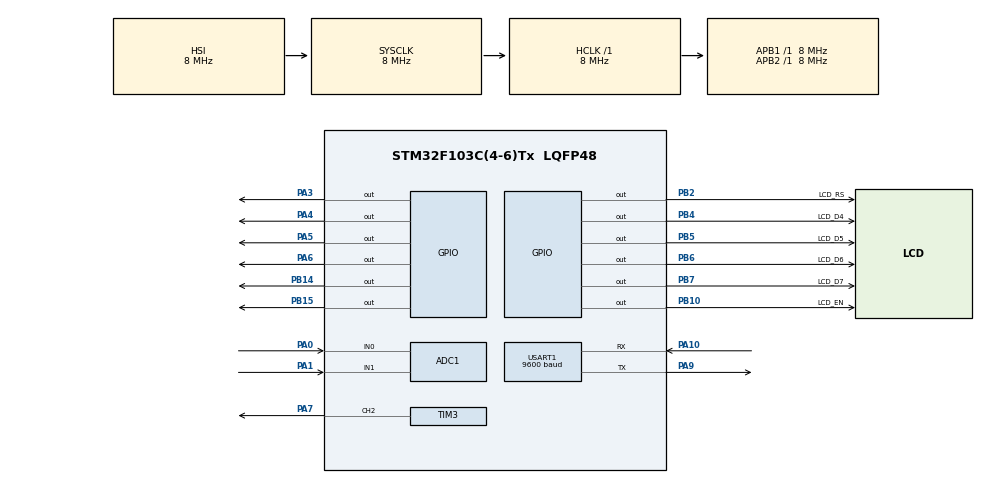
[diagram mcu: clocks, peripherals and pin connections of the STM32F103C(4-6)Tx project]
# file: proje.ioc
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ADC1.Channel-7\#ChannelRegularConversion=ADC_CHANNEL_0
ADC1.Channel-8\#ChannelRegularConversion=ADC_CHANNEL_1
ADC1.ContinuousConvMode=ENABLE
ADC1.NbrOfConversion=2
ADC1.NbrOfConversionFlag=1
ADC1.Rank-7\#ChannelRegularConversion=1
ADC1.Rank-8\#ChannelRegularConversion=2
ADC1.SamplingTime-7\#ChannelRegularConversion=ADC_SAMPLETIME_55CYCLES_5
ADC1.SamplingTime-8\#ChannelRegularConversion=ADC_SAMPLETIME_55CYCLES_5
ADC1.master=1
Dma.ADC1.0.Direction=DMA_PERIPH_TO_MEMORY
Dma.ADC1.0.Instance=DMA1_Channel1
Dma.ADC1.0.MemDataAlignment=DMA_MDATAALIGN_WORD
Dma.ADC1.0.MemInc=DMA_MINC_ENABLE
Dma.ADC1.0.Mode=DMA_CIRCULAR
Dma.ADC1.0.PeriphDataAlignment=DMA_PDATAALIGN_WORD
Dma.ADC1.0.PeriphInc=DMA_PINC_DISABLE
Dma.ADC1.0.Priority=DMA_PRIORITY_LOW
Dma.Request0=ADC1
Mcu.Family=STM32F1
Mcu.Name=STM32F103C(4-6)Tx
Mcu.Package=LQFP48
NVIC.DMA1_Channel1_IRQn=true\:0\:0\:false\:false\:true\:false\:true\:true
NVIC.PriorityGroup=NVIC_PRIORITYGROUP_4
NVIC.TIM2_IRQn=true\:0\:0\:false\:false\:true\:true\:true\:true
NVIC.USART1_IRQn=true\:0\:0\:true\:false\:true\:true\:true\:true
PA0-WKUP.Signal=ADCx_IN0
PA1.Signal=ADCx_IN1
PA10.Mode=Asynchronous
PA10.Signal=USART1_RX
PA3.Signal=GPIO_Output
PA4.Signal=GPIO_Output
PA5.Signal=GPIO_Output
PA6.Signal=GPIO_Output
PA7.Signal=S_TIM3_CH2
PA9.Mode=Asynchronous
PA9.Signal=USART1_TX
PB10.GPIO_Label=LCD_EN
PB10.Signal=GPIO_Output
PB14.Signal=GPIO_Output
PB15.Signal=GPIO_Output
PB2.GPIO_Label=LCD_RS
PB2.Signal=GPIO_Output
PB4.GPIO_Label=LCD_D4
PB4.Signal=GPIO_Output
PB5.GPIO_Label=LCD_D5
PB5.Signal=GPIO_Output
PB6.GPIO_Label=LCD_D6
PB6.Signal=GPIO_Output
PB7.GPIO_Label=LCD_D7
PB7.Signal=GPIO_Output
PD0-OSC_IN.Mode=HSE-External-Oscillator
PD0-OSC_IN.Signal=RCC_OSC_IN
PD1-OSC_OUT.Mode=HSE-External-Oscillator
PD1-OSC_OUT.Signal=RCC_OSC_OUT
ProjectManager.HeapSize=0x200
ProjectManager.StackSize=0x400
ProjectManager.TargetToolchain=MDK-ARM V5.32
RCC.AHBFreq_Value=8000000
RCC.APB1Freq_Value=8000000
RCC.APB1TimFreq_Value=8000000
RCC.APB2Freq_Value=8000000
RCC.APB2TimFreq_Value=8000000
RCC.HCLKFreq_Value=8000000
RCC.SYSCLKFreq_VALUE=8000000
RCC.USBFreq_Value=8000000
SH.ADCx_IN0.0=ADC1_IN0,IN0
SH.ADCx_IN1.0=ADC1_IN1,IN1
SH.S_TIM3_CH2.0=TIM3_CH2,PWM Generation2 CH2
TIM2.Period=49999
TIM2.Prescaler=15
TIM3.Channel-PWM\ Generation2\ CH2=TIM_CHANNEL_2
TIM3.Period=8192
USART1.BaudRate=9600
USART1.VirtualMode=VM_ASYNC
VP_SYS_VS_ND.Mode=No_Debug
VP_TIM2_VS_ClockSourceINT.Mode=Internal
VP_TIM3_VS_ClockSourceINT.Mode=Internal
board=custom

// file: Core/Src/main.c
/* USER CODE BEGIN Header */
/**
  ******************************************************************************
  * @file           : main.c
  * @brief          : Main program body
  ******************************************************************************
  * @attention
  *
  * Copyright (c) 2024 STMicroelectronics.
  * All rights reserved.
  *
  * This software is licensed under terms that can be found in the LICENSE file
  * in the root directory of this software component.
  * If no LICENSE file comes with this software, it is provided AS-IS.
  *
  ******************************************************************************
  */
/* USER CODE END Header */
#include "main.h"

/* USER CODE BEGIN Includes */
#include "stdio.h"
#include "stdlib.h"
#include "LCD.h"
/* USER CODE END Includes */

ADC_HandleTypeDef hadc1;
DMA_HandleTypeDef hdma_adc1;

TIM_HandleTypeDef htim2;
TIM_HandleTypeDef htim3;

UART_HandleTypeDef huart1;

/* USER CODE BEGIN PV */

float soilHumidity = 50;
float waterLevel = 50;

uint32_t adcBuffer[2];

uint32_t adcWaterValue;
uint32_t adcMoistureValue;

uint8_t uartMessage[1] = "m";
char lcdString[32] = "";

uint16_t moisture_pin;
uint16_t water_pin;

/* USER CODE END PV */

void SystemClock_Config(void);
static void MX_GPIO_Init(void);
static void MX_DMA_Init(void);
static void MX_USART1_UART_Init(void);
static void MX_ADC1_Init(void);
static void MX_TIM2_Init(void);
static void MX_TIM3_Init(void);

int main(void)
{

  /* MCU Configuration--------------------------------------------------------*/

  /* Reset of all peripherals, Initializes the Flash interface and the Systick. */
  HAL_Init();

  /* Configure the system clock */
  SystemClock_Config();

  /* Initialize all configured peripherals */
  MX_GPIO_Init();
  MX_DMA_Init();
  MX_USART1_UART_Init();
  MX_ADC1_Init();
  MX_TIM2_Init();
  MX_TIM3_Init();
  /* USER CODE BEGIN 2 */

	lcd_init(_LCD_4BIT, _LCD_FONT_5x8, _LCD_2LINE);

	lcd_print(1, 1, " ...");
	HAL_Delay(1000);
	lcd_clear();

	HAL_TIM_Base_Start_IT(&htim2);
	HAL_UART_Init(&huart1);
	HAL_UART_Receive_IT(&huart1, uartMessage, sizeof(uartMessage));
	HAL_ADC_Start_DMA(&hadc1, adcBuffer, 2);
  HAL_TIM_PWM_Start(&htim3, TIM_CHANNEL_2);
	__HAL_TIM_SET_COMPARE(&htim3, TIM_CHANNEL_2, 0);
  /* USER CODE END 2 */

  /* Infinite loop */
  while (1)
  {

  }
}

void SystemClock_Config(void)
{
  RCC_OscInitTypeDef RCC_OscInitStruct = {0};
  RCC_ClkInitTypeDef RCC_ClkInitStruct = {0};
  RCC_PeriphCLKInitTypeDef PeriphClkInit = {0};

  /** Initializes the RCC Oscillators according to the specified parameters
  * in the RCC_OscInitTypeDef structure.
  */
  RCC_OscInitStruct.OscillatorType = RCC_OSCILLATORTYPE_HSI;
  RCC_OscInitStruct.HSIState = RCC_HSI_ON;
  RCC_OscInitStruct.HSICalibrationValue = RCC_HSICALIBRATION_DEFAULT;
  RCC_OscInitStruct.PLL.PLLState = RCC_PLL_NONE;
  if (HAL_RCC_OscConfig(&RCC_OscInitStruct) != HAL_OK)
  {
    Error_Handler();
  }

  /** Initializes the CPU, AHB and APB buses clocks
  */
  RCC_ClkInitStruct.ClockType = RCC_CLOCKTYPE_HCLK|RCC_CLOCKTYPE_SYSCLK
                              |RCC_CLOCKTYPE_PCLK1|RCC_CLOCKTYPE_PCLK2;
  RCC_ClkInitStruct.SYSCLKSource = RCC_SYSCLKSOURCE_HSI;
  RCC_ClkInitStruct.AHBCLKDivider = RCC_SYSCLK_DIV1;
  RCC_ClkInitStruct.APB1CLKDivider = RCC_HCLK_DIV1;
  RCC_ClkInitStruct.APB2CLKDivider = RCC_HCLK_DIV1;

  if (HAL_RCC_ClockConfig(&RCC_ClkInitStruct, FLASH_LATENCY_0) != HAL_OK)
  {
    Error_Handler();
  }
  PeriphClkInit.PeriphClockSelection = RCC_PERIPHCLK_ADC;
  PeriphClkInit.AdcClockSelection = RCC_ADCPCLK2_DIV2;
  if (HAL_RCCEx_PeriphCLKConfig(&PeriphClkInit) != HAL_OK)
  {
    Error_Handler();
  }
}

static void MX_ADC1_Init(void)
{

  ADC_ChannelConfTypeDef sConfig = {0};

  /** Common config
  */
  hadc1.Instance = ADC1;
  hadc1.Init.ScanConvMode = ADC_SCAN_ENABLE;
  hadc1.Init.ContinuousConvMode = ENABLE;
  hadc1.Init.DiscontinuousConvMode = DISABLE;
  hadc1.Init.ExternalTrigConv = ADC_SOFTWARE_START;
  hadc1.Init.DataAlign = ADC_DATAALIGN_RIGHT;
  hadc1.Init.NbrOfConversion = 2;
  if (HAL_ADC_Init(&hadc1) != HAL_OK)
  {
    Error_Handler();
  }

  /** Configure Regular Channel
  */
  sConfig.Channel = ADC_CHANNEL_0;
  sConfig.Rank = ADC_REGULAR_RANK_1;
  sConfig.SamplingTime = ADC_SAMPLETIME_55CYCLES_5;
  if (HAL_ADC_ConfigChannel(&hadc1, &sConfig) != HAL_OK)
  {
    Error_Handler();
  }

  /** Configure Regular Channel
  */
  sConfig.Channel = ADC_CHANNEL_1;
  sConfig.Rank = ADC_REGULAR_RANK_2;
  if (HAL_ADC_ConfigChannel(&hadc1, &sConfig) != HAL_OK)
  {
    Error_Handler();
  }

}

static void MX_TIM2_Init(void)
{

  TIM_ClockConfigTypeDef sClockSourceConfig = {0};
  TIM_MasterConfigTypeDef sMasterConfig = {0};

  htim2.Instance = TIM2;
  htim2.Init.Prescaler = 15;
  htim2.Init.CounterMode = TIM_COUNTERMODE_UP;
  htim2.Init.Period = 49999;
  htim2.Init.ClockDivision = TIM_CLOCKDIVISION_DIV1;
  htim2.Init.AutoReloadPreload = TIM_AUTORELOAD_PRELOAD_DISABLE;
  if (HAL_TIM_Base_Init(&htim2) != HAL_OK)
  {
    Error_Handler();
  }
  sClockSourceConfig.ClockSource = TIM_CLOCKSOURCE_INTERNAL;
  if (HAL_TIM_ConfigClockSource(&htim2, &sClockSourceConfig) != HAL_OK)
  {
    Error_Handler();
  }
  sMasterConfig.MasterOutputTrigger = TIM_TRGO_RESET;
  sMasterConfig.MasterSlaveMode = TIM_MASTERSLAVEMODE_DISABLE;
  if (HAL_TIMEx_MasterConfigSynchronization(&htim2, &sMasterConfig) != HAL_OK)
  {
    Error_Handler();
  }

}

static void MX_TIM3_Init(void)
{

  TIM_ClockConfigTypeDef sClockSourceConfig = {0};
  TIM_MasterConfigTypeDef sMasterConfig = {0};
  TIM_OC_InitTypeDef sConfigOC = {0};

  htim3.Instance = TIM3;
  htim3.Init.Prescaler = 0;
  htim3.Init.CounterMode = TIM_COUNTERMODE_UP;
  htim3.Init.Period = 8192;
  htim3.Init.ClockDivision = TIM_CLOCKDIVISION_DIV1;
  htim3.Init.AutoReloadPreload = TIM_AUTORELOAD_PRELOAD_DISABLE;
  if (HAL_TIM_Base_Init(&htim3) != HAL_OK)
  {
    Error_Handler();
  }
  sClockSourceConfig.ClockSource = TIM_CLOCKSOURCE_INTERNAL;
  if (HAL_TIM_ConfigClockSource(&htim3, &sClockSourceConfig) != HAL_OK)
  {
    Error_Handler();
  }
  if (HAL_TIM_PWM_Init(&htim3) != HAL_OK)
  {
    Error_Handler();
  }
  sMasterConfig.MasterOutputTrigger = TIM_TRGO_RESET;
  sMasterConfig.MasterSlaveMode = TIM_MASTERSLAVEMODE_DISABLE;
  if (HAL_TIMEx_MasterConfigSynchronization(&htim3, &sMasterConfig) != HAL_OK)
  {
    Error_Handler();
  }
  sConfigOC.OCMode = TIM_OCMODE_PWM1;
  sConfigOC.Pulse = 0;
  sConfigOC.OCPolarity = TIM_OCPOLARITY_HIGH;
  sConfigOC.OCFastMode = TIM_OCFAST_DISABLE;
  if (HAL_TIM_PWM_ConfigChannel(&htim3, &sConfigOC, TIM_CHANNEL_2) != HAL_OK)
  {
    Error_Handler();
  }
  HAL_TIM_MspPostInit(&htim3);

}

static void MX_USART1_UART_Init(void)
{

  huart1.Instance = USART1;
  huart1.Init.BaudRate = 9600;
  huart1.Init.WordLength = UART_WORDLENGTH_8B;
  huart1.Init.StopBits = UART_STOPBITS_1;
  huart1.Init.Parity = UART_PARITY_NONE;
  huart1.Init.Mode = UART_MODE_TX_RX;
  huart1.Init.HwFlowCtl = UART_HWCONTROL_NONE;
  huart1.Init.OverSampling = UART_OVERSAMPLING_16;
  if (HAL_UART_Init(&huart1) != HAL_OK)
  {
    Error_Handler();
  }

}

static void MX_DMA_Init(void)
{

  /* DMA controller clock enable */
  __HAL_RCC_DMA1_CLK_ENABLE();

  /* DMA interrupt init */
  /* DMA1_Channel1_IRQn interrupt configuration */
  HAL_NVIC_SetPriority(DMA1_Channel1_IRQn, 0, 0);
  HAL_NVIC_EnableIRQ(DMA1_Channel1_IRQn);

}

static void MX_GPIO_Init(void)
{
  GPIO_InitTypeDef GPIO_InitStruct = {0};

  /* GPIO Ports Clock Enable */
  __HAL_RCC_GPIOD_CLK_ENABLE();
  __HAL_RCC_GPIOA_CLK_ENABLE();
  __HAL_RCC_GPIOB_CLK_ENABLE();

  /*Configure GPIO pin Output Level */
  HAL_GPIO_WritePin(GPIOA, GPIO_PIN_3|GPIO_PIN_4|GPIO_PIN_5|GPIO_PIN_6, GPIO_PIN_RESET);

  /*Configure GPIO pin Output Level */
  HAL_GPIO_WritePin(GPIOB, LCD_RS_Pin|LCD_EN_Pin|GPIO_PIN_14|GPIO_PIN_15
                          |LCD_D4_Pin|LCD_D5_Pin|LCD_D6_Pin|LCD_D7_Pin, GPIO_PIN_RESET);

  /*Configure GPIO pins : PA3 PA4 PA5 PA6 */
  GPIO_InitStruct.Pin = GPIO_PIN_3|GPIO_PIN_4|GPIO_PIN_5|GPIO_PIN_6;
  GPIO_InitStruct.Mode = GPIO_MODE_OUTPUT_PP;
  GPIO_InitStruct.Pull = GPIO_NOPULL;
  GPIO_InitStruct.Speed = GPIO_SPEED_FREQ_LOW;
  HAL_GPIO_Init(GPIOA, &GPIO_InitStruct);

  /*Configure GPIO pins : LCD_RS_Pin LCD_EN_Pin PB14 PB15
                           LCD_D4_Pin LCD_D5_Pin LCD_D6_Pin LCD_D7_Pin */
  GPIO_InitStruct.Pin = LCD_RS_Pin|LCD_EN_Pin|GPIO_PIN_14|GPIO_PIN_15
                          |LCD_D4_Pin|LCD_D5_Pin|LCD_D6_Pin|LCD_D7_Pin;
  GPIO_InitStruct.Mode = GPIO_MODE_OUTPUT_PP;
  GPIO_InitStruct.Pull = GPIO_NOPULL;
  GPIO_InitStruct.Speed = GPIO_SPEED_FREQ_LOW;
  HAL_GPIO_Init(GPIOB, &GPIO_InitStruct);

}

/* USER CODE BEGIN 4 */

void lcd_empty() {
		lcd_print(1,1, "                       ");
		lcd_print(2,1, "                       ");

}

void printToTheLCD() {

		switch(uartMessage[0]) {
			case 'm': {
					lcd_empty();
					sprintf(lcdString, " %.2f", soilHumidity);//int i string yapiyor
					lcd_print(1,1, " Moisture(%) ");
					lcd_print(2, 1, lcdString);
					break;

			}

			case 'w': {
				lcd_empty();
				sprintf(lcdString, " %.2f", waterLevel);
				lcd_print(1,1, " Water Tank(%): ");
				lcd_print(2,1, lcdString);
				break;

			}

		}

}

void checkMoisture() {

			if (soilHumidity > 10 && soilHumidity < 50) {
			HAL_GPIO_WritePin(GPIOB, GPIO_PIN_14, GPIO_PIN_RESET);
			moisture_pin = GPIO_PIN_15;

			}else {
			HAL_GPIO_WritePin(GPIOB, GPIO_PIN_15, GPIO_PIN_RESET);
			moisture_pin = GPIO_PIN_14;

			}

			if (waterLevel > 40) {
			HAL_GPIO_WritePin(GPIOA, GPIO_PIN_4, GPIO_PIN_RESET);
			water_pin = GPIO_PIN_3;

			}else {
			HAL_GPIO_WritePin(GPIOA, GPIO_PIN_3, GPIO_PIN_RESET);
			water_pin = GPIO_PIN_4;

			}
}

void HAL_ADC_ConvCpltCallback(ADC_HandleTypeDef* hadc)
{

			if (hadc->Instance == ADC1) {

				adcMoistureValue = adcBuffer[0];
				adcWaterValue = adcBuffer[1];

				waterLevel = (100*((float)adcWaterValue/4096));
				soilHumidity = (100*((float)adcMoistureValue/4096));

				if(waterLevel < 40){
					HAL_GPIO_WritePin(GPIOA, GPIO_PIN_5,1);
					if(waterLevel < 20){
							HAL_GPIO_WritePin(GPIOA, GPIO_PIN_6,1);
						__HAL_TIM_SET_COMPARE(&htim3, TIM_CHANNEL_2, 1000);
					}else{
						__HAL_TIM_SET_COMPARE(&htim3, TIM_CHANNEL_2, 500);
					}
				}else{
					HAL_GPIO_WritePin(GPIOA, GPIO_PIN_5,0);
					HAL_GPIO_WritePin(GPIOA, GPIO_PIN_6,0);
					__HAL_TIM_SET_COMPARE(&htim3, TIM_CHANNEL_2, 0);

				}
			}

}

void HAL_UART_RxCpltCallback(UART_HandleTypeDef *huart)
{

		HAL_UART_Receive_IT(&huart1, uartMessage, sizeof(uartMessage));

		printToTheLCD();

}

void HAL_TIM_PeriodElapsedCallback(TIM_HandleTypeDef *htim)
{

		printToTheLCD();
		checkMoisture();

		HAL_GPIO_TogglePin(GPIOB, moisture_pin);
		HAL_GPIO_TogglePin(GPIOA, water_pin);

}

/* USER CODE END 4 */

void Error_Handler(void)
{
  __disable_irq();
  while (1)
  {
  }
}
